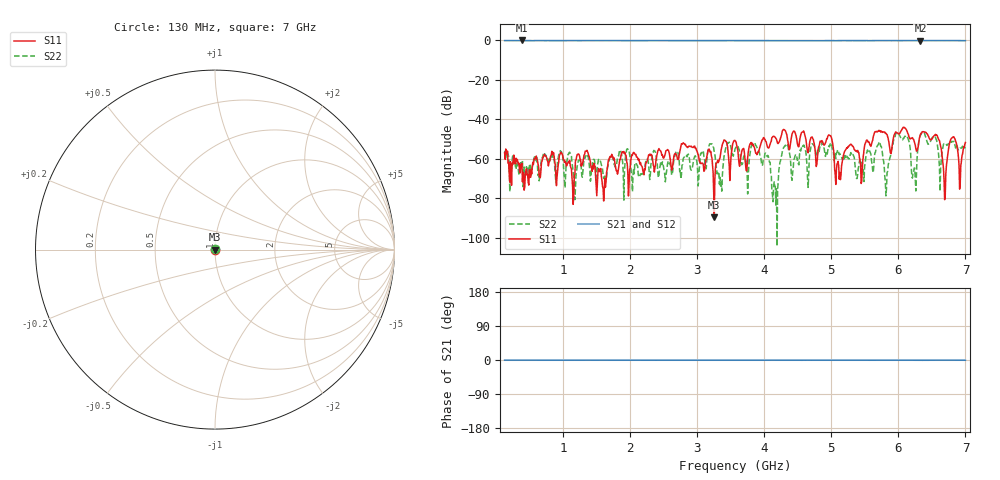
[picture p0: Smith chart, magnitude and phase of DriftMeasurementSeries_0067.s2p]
# Hz S RI R 50.000000
! Metas.Vna.Tools, 2.8.8664.20301
! Metas.Vna.Data, 2.8.8664.20285
! Created: UTC 2024.02.11 10:08:34
! FREQ  re:S1,1  im:S1,1  re:S2,1  im:S2,1  re:S1,2  im:S1,2  re:S2,2  im:S2,2
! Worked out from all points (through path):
!   801 points, 130 MHz to 7 GHz, reference 50 ohm
!   highest |S21| = 0.01 dB at 387.6 MHz (marker M1); lowest = -0.1 dB at 6.33 GHz (marker M2)
!   lowest |S11| = -89.6 dB at 3.256 GHz (marker M3), VSWR 1.00, Z = 50 + j0.000495 ohm
!   |S11| at or under -10 dB: start of sweep to end of sweep
!   |S22| runs from -104.2 to -46.4 dB; largest |S21 - S12| = 0.014
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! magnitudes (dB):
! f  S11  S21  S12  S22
! 130 MHz  -56.9  0.0  0.0  -55.9
! 387.6 MHz  -62.2  0.0  0.0  -63.6
! 1.281 GHz  -62.7  -0.1  0.0  -68.6
! 1.607 GHz  -81.4  -0.1  0.0  -69.5
! 2.423 GHz  -55.3  -0.1  0.0  -69.6
! 3.256 GHz  -89.6  -0.1  0.0  -56.9
! 3.342 GHz  -59.4  -0.1  0.0  -69.3
! 3.565 GHz  -50.7  -0.1  0.0  -55.0
! 4.046 GHz  -53.6  0.0  0.0  -58.9
! 4.158 GHz  -48.8  0.0  0.0  -73.5
! 4.312 GHz  -45.6  0.0  0.0  -53.2
! 4.716 GHz  -48.9  -0.1  0.0  -52.4
! 4.982 GHz  -48.1  -0.1  0.0  -52.7
! 5.102 GHz  -61.3  -0.1  0.0  -55.6
! 5.858 GHz  -51.3  -0.1  0.0  -61.7
! 6.115 GHz  -45.0  -0.1  0.0  -48.1
! 6.236 GHz  -51.0  -0.1  0.0  -64.7
! 6.33 GHz  -47.5  -0.1  0.0  -48.0
! 6.579 GHz  -48.2  0.0  0.0  -52.1
! 6.691 GHz  -80.7  0.0  0.0  -52.6
! 6.794 GHz  -49.5  -0.1  0.0  -51.5
! 7 GHz  -51.7  -0.1  0.0  -54.7
